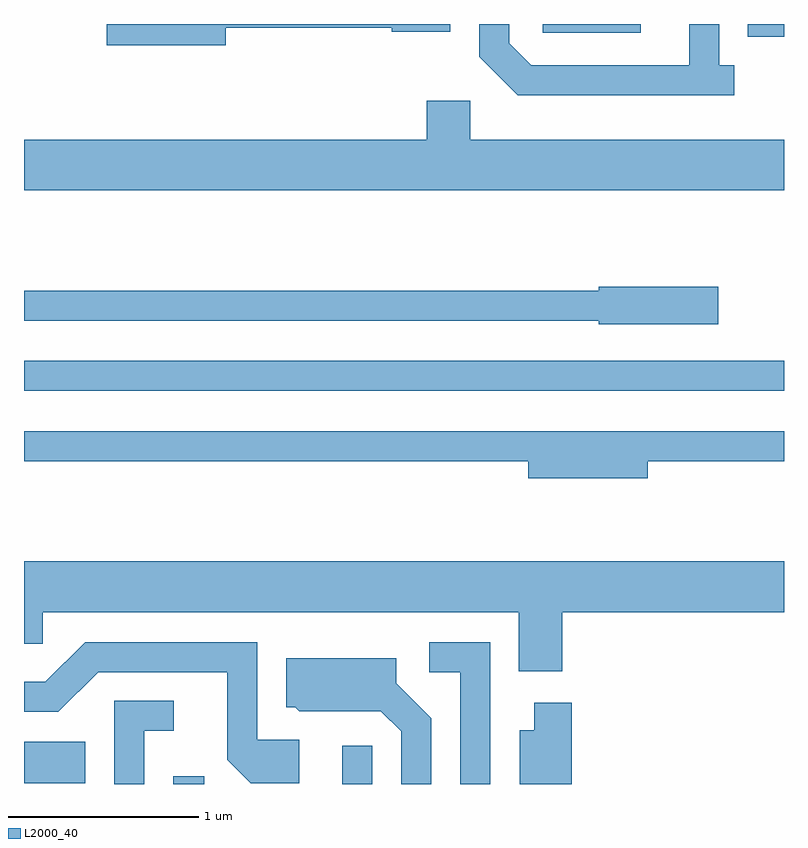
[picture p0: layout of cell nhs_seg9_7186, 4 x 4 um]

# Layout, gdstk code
import gdstk
lib = gdstk.Library(unit=1e-6, precision=1e-09)
def R(c, l, rs):  # rectangles x0, y0, x1, y1
    for r in rs: c.add(gdstk.rectangle(r[:2], r[2:], *l))
def P(c, l, *ps):  # polygons
    for p in ps: c.add(gdstk.Polygon(p, *l))
L2000_40 = (2000, 40)

nhs_seg9_7186 = lib.new_cell('nhs_seg9_7186')
R(nhs_seg9_7186, L2000_40, [(398.396,2026.432,398.559,2026.473), (399.286,2026.432,399.444,2026.633), (397.611,2026.436,397.934,2026.654), (397.611,2028.501,401.611,2028.659), (401.421,2030.366,401.611,2030.432), (400.341,2030.386,400.858,2030.432)])
P(nhs_seg9_7186, L2000_40, [(398.674,2030.411),(399.546,2030.411),(399.546,2030.391),(399.854,2030.391),(399.854,2030.432),(398.046,2030.432),(398.046,2030.321),(398.674,2030.321)],
  [(401.348,2030.214),(401.269,2030.214),(401.269,2030.432),(401.111,2030.432),(401.111,2030.214),(400.282,2030.214),(400.164,2030.332),(400.164,2030.432),(400.006,2030.432),(400.006,2030.259),(400.209,2030.056),(401.348,2030.056)],
  [(401.611,2029.824),(399.959,2029.824),(399.959,2030.029),(399.731,2030.029),(399.731,2029.824),(397.611,2029.824),(397.611,2029.556),(401.611,2029.556)],
  [(401.264,2029.049),(400.636,2029.049),(400.636,2029.029),(397.611,2029.029),(397.611,2028.871),(400.636,2028.871),(400.636,2028.851),(401.264,2028.851)],
  [(400.894,2028.131),(401.611,2028.131),(401.611,2028.289),(397.611,2028.289),(397.611,2028.131),(400.266,2028.131),(400.266,2028.041),(400.894,2028.041)],
  [(400.444,2027.336),(401.611,2027.336),(401.611,2027.604),(397.611,2027.604),(397.611,2027.171),(397.709,2027.171),(397.709,2027.336),(400.216,2027.336),(400.216,2027.026),(400.444,2027.026)],
  [(400.064,2027.179),(399.743,2027.179),(399.743,2027.021),(399.906,2027.021),(399.906,2026.432),(400.064,2026.432)],
  [(399.059,2026.664),(398.839,2026.664),(398.839,2027.179),(397.934,2027.179),(397.724,2026.969),(397.611,2026.969),(397.611,2026.811),(397.792,2026.811),(398.002,2027.021),(398.681,2027.021),(398.681,2026.559),(398.804,2026.436),(399.059,2026.436)],
  [(399.754,2026.777),(399.569,2026.962),(399.569,2027.094),(398.991,2027.094),(398.991,2026.836),(399.039,2026.836),(399.059,2026.816),(399.489,2026.816),(399.596,2026.709),(399.596,2026.432),(399.754,2026.432)],
  [(398.244,2026.711),(398.398,2026.711),(398.398,2026.869),(398.086,2026.869),(398.086,2026.432),(398.244,2026.432)],
  [(400.494,2026.859),(400.296,2026.859),(400.296,2026.714),(400.221,2026.714),(400.221,2026.432),(400.494,2026.432)])

lib.write_gds('nhs_seg9_7186.gds')
